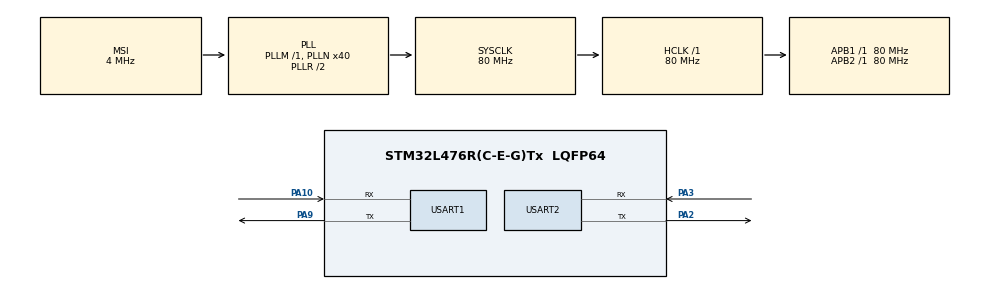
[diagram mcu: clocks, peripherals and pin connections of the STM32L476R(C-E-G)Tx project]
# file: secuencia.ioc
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Mcu.Family=STM32L4
Mcu.Name=STM32L476R(C-E-G)Tx
Mcu.Package=LQFP64
NVIC.PriorityGroup=NVIC_PRIORITYGROUP_4
NVIC.USART1_IRQn=true\:0\:0\:false\:false\:true\:true\:true\:true
NVIC.USART2_IRQn=true\:0\:0\:false\:false\:true\:true\:true\:true
PA10.Mode=Asynchronous
PA10.Signal=USART1_RX
PA2.Mode=Asynchronous
PA2.Signal=USART2_TX
PA3.Mode=Asynchronous
PA3.Signal=USART2_RX
PA9.Mode=Asynchronous
PA9.Signal=USART1_TX
ProjectManager.HeapSize=0x200
ProjectManager.StackSize=0x400
ProjectManager.TargetToolchain=STM32CubeIDE
RCC.AHBFreq_Value=80000000
RCC.APB1Freq_Value=80000000
RCC.APB1TimFreq_Value=80000000
RCC.APB2Freq_Value=80000000
RCC.APB2TimFreq_Value=80000000
RCC.CortexFreq_Value=80000000
RCC.HCLKFreq_Value=80000000
RCC.HSE_VALUE=8000000
RCC.HSI_VALUE=16000000
RCC.LSE_VALUE=32768
RCC.MSI_VALUE=4000000
RCC.PLLN=40
RCC.SYSCLKFreq_VALUE=80000000
RCC.SYSCLKSource=RCC_SYSCLKSOURCE_PLLCLK
RCC.VCOOutputFreq_Value=160000000
USART1.VirtualMode-Asynchronous=VM_ASYNC
USART2.VirtualMode-Asynchronous=VM_ASYNC
board=custom

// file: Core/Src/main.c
/* USER CODE BEGIN Header */
/**
  ******************************************************************************
  * @file           : main.c
  * @brief          : Main program body
  ******************************************************************************
  * @attention
  *
  * Copyright (c) 2024 STMicroelectronics.
  * All rights reserved.
  *
  * This software is licensed under terms that can be found in the LICENSE file
  * in the root directory of this software component.
  * If no LICENSE file comes with this software, it is provided AS-IS.
  *
  ******************************************************************************
  */
/* USER CODE END Header */
#include "main.h"

/* USER CODE BEGIN Includes */
#include"ring_buffer.h"
/* USER CODE END Includes */

/* USER CODE BEGIN PD */
uint8_t date;
//#define capacity (8)//capacidad del buffer
//uint8_t ring_buffer[capacity];//buffer
//uint8_t head_ptr;//cabeza buffer
//uint8_t tail_ptr;//cola buffer
//uint8_t is_full;

/* USER CODE END PD */

UART_HandleTypeDef huart1;
UART_HandleTypeDef huart2;

void SystemClock_Config(void);
static void MX_GPIO_Init(void);
static void MX_USART2_UART_Init(void);
static void MX_USART1_UART_Init(void);

/* USER CODE BEGIN 0 */
void HAL_UART_RxCpltCallback(UART_HandleTypeDef *huart)
{
  /* Prevent unused argument(s) compilation warning */
  //UNUSED(huart);
	if(huart -> Instance == USART1){
		  //HAL_UART_Transmit (&huart2, &data,1 , 10);

		  ring_buffer_write(date);
		  HAL_UART_Receive_IT(&huart1, &date, 1);//vuelve a activar la funcion de recibir el siguinete bute

	  }
  if(huart -> Instance == USART2){
	  //HAL_UART_Transmit (&huart2, &data,1 , 10);

	  ring_buffer_write(date);
	  HAL_UART_Receive_IT(&huart2, &date, 1);//vuelve a activar la funcion de recibir el siguinete bute

  }
  /* NOTE : This function should not be modified, when the callback is needed,
            the HAL_UART_RxCpltCallback can be implemented in the user file.
   */
}
/* USER CODE END 0 */

int main(void)
{

  /* MCU Configuration--------------------------------------------------------*/

  /* Reset of all peripherals, Initializes the Flash interface and the Systick. */
  HAL_Init();

  /* Configure the system clock */
  SystemClock_Config();

  /* Initialize all configured peripherals */
  MX_GPIO_Init();
  MX_USART2_UART_Init();
  MX_USART1_UART_Init();

  /* Infinite loop */
  /* USER CODE BEGIN WHILE */
  //HAL_UART_Receive_IT(&huart1, &date, 1);
  HAL_UART_Receive_IT(&huart1, &date, 1);
  HAL_UART_Receive_IT(&huart2, &date, 1);//recibe un byte
  while (1)
  {
	  //ring_buffer_read(data);
	  uint8_t byte = 0;

	  if(ring_buffer_read(&byte) != 0){
		  HAL_UART_Transmit(&huart2, &byte, 1, 10);
		  if(check_sequence(byte) != 0){
		  		  HAL_UART_Transmit(&huart2, "Rafael Ricardo Torres Choperena\n", 32, 20);
		  	}

	  }
//	  if(byte == 115){
//		  uint8_t size = ring_buffer_size();
//		  size = size + '0';
//
//		  //hola = hola + '0';
//		  //HAL_UART_Transmit(&huart2, &hola, 1, 10);
//		  HAL_UART_Transmit(&huart2, &size, 1, 10);
//	  }

	  //HAL_UART_Transmit(&huart2, &size, 1, 10);
//	  uint8_t byte = ring_buffer_read();
//	  HAL_UART_Transmit(&huart2, &byte, 1, 10);
//	  poner esto en una nueva funcion
//	  while ((is_full != 0) || (head_ptr != tail_ptr)) {
//	  		  uint8_t byte = ring_buffer[tail_ptr];
//	  		  tail_ptr++;
//	  		  if (tail_ptr >= capacity) {
//	  			  tail_ptr = 0;
//	  		  }
//	  		  is_full = 0;
//	  		  HAL_UART_Transmit(&huart2, &byte, 1, 10);//ENVia a traves del puerto seria huart2
//	  	  }

    /* USER CODE END WHILE */

  }
}

void SystemClock_Config(void)
{
  RCC_OscInitTypeDef RCC_OscInitStruct = {0};
  RCC_ClkInitTypeDef RCC_ClkInitStruct = {0};

  /** Configure the main internal regulator output voltage
  */
  if (HAL_PWREx_ControlVoltageScaling(PWR_REGULATOR_VOLTAGE_SCALE1) != HAL_OK)
  {
    Error_Handler();
  }

  /** Initializes the RCC Oscillators according to the specified parameters
  * in the RCC_OscInitTypeDef structure.
  */
  RCC_OscInitStruct.OscillatorType = RCC_OSCILLATORTYPE_MSI;
  RCC_OscInitStruct.MSIState = RCC_MSI_ON;
  RCC_OscInitStruct.MSICalibrationValue = 0;
  RCC_OscInitStruct.MSIClockRange = RCC_MSIRANGE_6;
  RCC_OscInitStruct.PLL.PLLState = RCC_PLL_ON;
  RCC_OscInitStruct.PLL.PLLSource = RCC_PLLSOURCE_MSI;
  RCC_OscInitStruct.PLL.PLLM = 1;
  RCC_OscInitStruct.PLL.PLLN = 40;
  RCC_OscInitStruct.PLL.PLLP = RCC_PLLP_DIV7;
  RCC_OscInitStruct.PLL.PLLQ = RCC_PLLQ_DIV2;
  RCC_OscInitStruct.PLL.PLLR = RCC_PLLR_DIV2;
  if (HAL_RCC_OscConfig(&RCC_OscInitStruct) != HAL_OK)
  {
    Error_Handler();
  }

  /** Initializes the CPU, AHB and APB buses clocks
  */
  RCC_ClkInitStruct.ClockType = RCC_CLOCKTYPE_HCLK|RCC_CLOCKTYPE_SYSCLK
                              |RCC_CLOCKTYPE_PCLK1|RCC_CLOCKTYPE_PCLK2;
  RCC_ClkInitStruct.SYSCLKSource = RCC_SYSCLKSOURCE_PLLCLK;
  RCC_ClkInitStruct.AHBCLKDivider = RCC_SYSCLK_DIV1;
  RCC_ClkInitStruct.APB1CLKDivider = RCC_HCLK_DIV1;
  RCC_ClkInitStruct.APB2CLKDivider = RCC_HCLK_DIV1;

  if (HAL_RCC_ClockConfig(&RCC_ClkInitStruct, FLASH_LATENCY_4) != HAL_OK)
  {
    Error_Handler();
  }
}

static void MX_USART1_UART_Init(void)
{

  huart1.Instance = USART1;
  huart1.Init.BaudRate = 115200;
  huart1.Init.WordLength = UART_WORDLENGTH_8B;
  huart1.Init.StopBits = UART_STOPBITS_1;
  huart1.Init.Parity = UART_PARITY_NONE;
  huart1.Init.Mode = UART_MODE_TX_RX;
  huart1.Init.HwFlowCtl = UART_HWCONTROL_NONE;
  huart1.Init.OverSampling = UART_OVERSAMPLING_16;
  huart1.Init.OneBitSampling = UART_ONE_BIT_SAMPLE_DISABLE;
  huart1.AdvancedInit.AdvFeatureInit = UART_ADVFEATURE_NO_INIT;
  if (HAL_UART_Init(&huart1) != HAL_OK)
  {
    Error_Handler();
  }

}

static void MX_USART2_UART_Init(void)
{

  huart2.Instance = USART2;
  huart2.Init.BaudRate = 115200;
  huart2.Init.WordLength = UART_WORDLENGTH_8B;
  huart2.Init.StopBits = UART_STOPBITS_1;
  huart2.Init.Parity = UART_PARITY_NONE;
  huart2.Init.Mode = UART_MODE_TX_RX;
  huart2.Init.HwFlowCtl = UART_HWCONTROL_NONE;
  huart2.Init.OverSampling = UART_OVERSAMPLING_16;
  huart2.Init.OneBitSampling = UART_ONE_BIT_SAMPLE_DISABLE;
  huart2.AdvancedInit.AdvFeatureInit = UART_ADVFEATURE_NO_INIT;
  if (HAL_UART_Init(&huart2) != HAL_OK)
  {
    Error_Handler();
  }

}

static void MX_GPIO_Init(void)
{

  /* GPIO Ports Clock Enable */
  __HAL_RCC_GPIOA_CLK_ENABLE();

}

void Error_Handler(void)
{
  __disable_irq();
  while (1)
  {
  }
}
